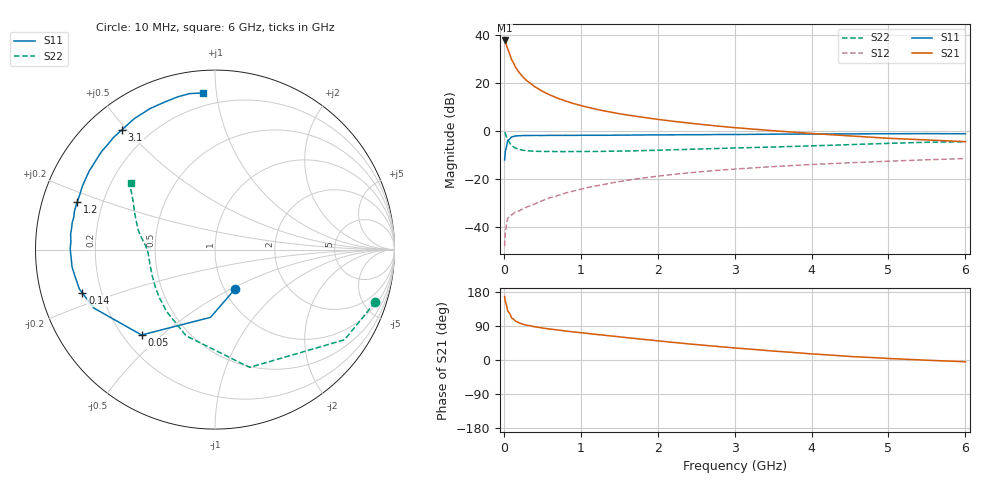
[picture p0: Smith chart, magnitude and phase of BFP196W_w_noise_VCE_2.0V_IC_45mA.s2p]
! (c) 2017  Infineon Technologies AG, Munich
! Infineon Technologies  Discrete & RF Semiconductors
! BFP196W
! VCE =  2.0 V,  IC =  45 mA
! Common Emitter S-Parameters:  Jan 2017
# GHz  S  MA  R  50
!  f  S11  S21  S12  S22
! GHz  MAG  ANG  MAG  ANG  MAG  ANG  MAG  ANG
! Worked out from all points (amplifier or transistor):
!   77 points, 10 MHz to 6 GHz, reference 50 ohm
!   highest |S21| = 37.8 dB at 10 MHz (marker M1)
!   |S21| within 3 dB of that: start of sweep to 43.96 MHz
!   unconditionally stable (mu >= 1): 658.8 MHz to 3.378 GHz
!   at 130 MHz: K = 0.43, MSG = 31.3 dB, |S12| = -34.4 dB
!   at 2.2 GHz: K = 1.04, MAG = 9.9 dB, |S12| = -18.2 dB
!   at 6 GHz: K = 0.97, MSG = 3.5 dB, |S12| = -11.5 dB
!   lowest NFmin = 1.31 dB at 450 MHz
!   S11 on the Smith chart (normalised r, x): 10 MHz: 1.13, -0.52; 50 MHz: 0.27, -0.43; 140 MHz: 0.13, -0.16; 1.2 GHz: 0.11, +0.17; 3.1 GHz: 0.10, +0.49; 6 GHz: 0.12, +0.92
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0.01  0.2458 -62.6  78.02 167.4  0.0039 77.9  0.9387 -18.2
0.02  0.3784 -93.8  72.77 154.7  0.0076 71.4  0.8797 -34.8
0.05  0.6274 -130.7  51.93 129.6  0.0149 49.7  0.6839 -73.6
0.1  0.7492 -154.2  31.31 111.2  0.0175 40.1  0.5066 -108.5
0.14  0.7775 -161.9  23.68 105.1  0.0196 39.0  0.4479 -123.4
0.15  0.7867 -163.7  21.84 102.9  0.0201 38.8  0.4387 -127.6
0.2  0.7944 -169.3  16.6 97.9  0.0213 41.6  0.4106 -138.7
0.25  0.8025 -173.2  13.37 94.3  0.0238 44.5  0.3949 -146.6
0.3  0.8024 -176.0  11.18 91.8  0.0257 46.7  0.3856 -151.8
0.4  0.8066 179.8  8.446 87.6  0.0297 52.2  0.3776 -158.9
0.5  0.8045 176.6  6.762 84.4  0.0349 55.9  0.3731 -163.6
0.6  0.809 173.9  5.654 81.6  0.0402 57.2  0.3732 -166.8
0.7  0.8077 171.6  4.842 79.3  0.0444 59.1  0.3706 -169.4
0.9  0.8071 166.9  3.765 74.2  0.0552 61.2  0.3712 -172.8
1.1  0.8121 162.9  3.104 69.9  0.0663 62.1  0.3729 -175.7
1.2  0.8127 160.9  2.848 67.5  0.0711 61.6  0.3728 -176.8
1.6  0.8198 153.3  2.162 59.0  0.0928 60.3  0.3814 178.7
2.1  0.828 144.0  1.67 48.6  0.1182 56.3  0.3995 173.9
3.1  0.8453 127.7  1.139 30.3  0.1635 47.3  0.4446 164.9
4.1  0.8649 113.5  0.866 14.9  0.2022 38.7  0.4936 155.1
5.1  0.8765 102.8  0.692 3.1  0.2362 30.5  0.5561 146.4
6  0.8753 94.4  0.598 -4.7  0.2653 23.5  0.5957 141.7
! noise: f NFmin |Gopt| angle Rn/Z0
0.45  1.31  0.5  -177  0.05
0.9  1.44  0.54  -172  0.07
1.9  2.26  0.69  -150  0.15
2.4  2.66  0.73  -145  0.25
